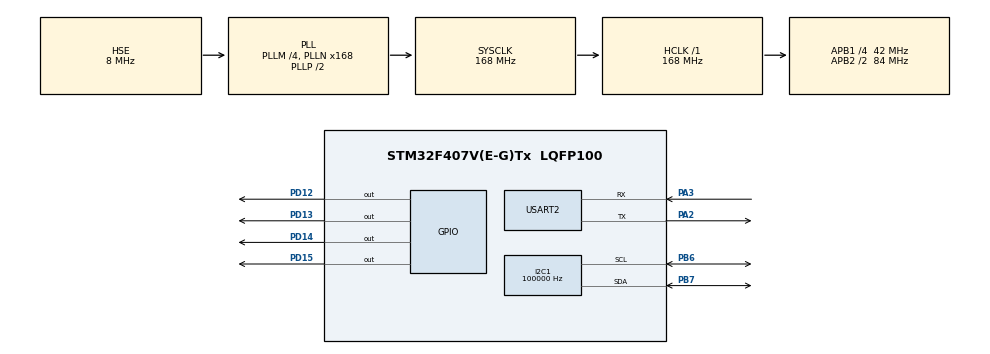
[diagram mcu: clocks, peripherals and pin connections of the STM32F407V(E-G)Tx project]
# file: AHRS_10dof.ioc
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I2C1.ClockSpeed=100000
I2C1.I2C_Mode=I2C_Standard
Mcu.Family=STM32F4
Mcu.Name=STM32F407V(E-G)Tx
Mcu.Package=LQFP100
NVIC.PriorityGroup=NVIC_PRIORITYGROUP_4
NVIC.USART2_IRQn=true\:0\:0\:false\:false\:true\:true\:true\:true
PA2.Mode=Asynchronous
PA2.Signal=USART2_TX
PA3.Mode=Asynchronous
PA3.Signal=USART2_RX
PB6.Mode=I2C
PB6.Signal=I2C1_SCL
PB7.Mode=I2C
PB7.Signal=I2C1_SDA
PD12.Signal=GPIO_Output
PD13.Signal=GPIO_Output
PD14.Signal=GPIO_Output
PD15.Signal=GPIO_Output
PH0-OSC_IN.Mode=HSE-External-Oscillator
PH0-OSC_IN.Signal=RCC_OSC_IN
PH1-OSC_OUT.Mode=HSE-External-Oscillator
PH1-OSC_OUT.Signal=RCC_OSC_OUT
ProjectManager.HeapSize=0x200
ProjectManager.StackSize=0x400
ProjectManager.TargetToolchain=STM32CubeIDE
RCC.48MHZClocksFreq_Value=84000000
RCC.AHBFreq_Value=168000000
RCC.APB1CLKDivider=RCC_HCLK_DIV4
RCC.APB1Freq_Value=42000000
RCC.APB1TimFreq_Value=84000000
RCC.APB2CLKDivider=RCC_HCLK_DIV2
RCC.APB2Freq_Value=84000000
RCC.APB2TimFreq_Value=168000000
RCC.CortexFreq_Value=168000000
RCC.HCLKFreq_Value=168000000
RCC.HSE_VALUE=8000000
RCC.HSI_VALUE=16000000
RCC.LSE_VALUE=32768
RCC.PLLM=4
RCC.PLLN=168
RCC.PLLSourceVirtual=RCC_PLLSOURCE_HSE
RCC.SYSCLKFreq_VALUE=168000000
RCC.SYSCLKSource=RCC_SYSCLKSOURCE_PLLCLK
RCC.VCOOutputFreq_Value=336000000
TIM2.AutoReloadPreload=TIM_AUTORELOAD_PRELOAD_ENABLE
TIM2.Prescaler=83
USART2.VirtualMode=VM_ASYNC
VP_TIM2_VS_ClockSourceINT.Mode=Internal
board=custom

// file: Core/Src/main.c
/* USER CODE BEGIN Header */
/**
 ******************************************************************************
 * @file           : main.c
 * @brief          : Main program body
 ******************************************************************************
 * @attention
 *
 * Copyright (c) 2026 STMicroelectronics.
 * All rights reserved.
 *
 * This software is licensed under terms that can be found in the LICENSE file
 * in the root directory of this software component.
 * If no LICENSE file comes with this software, it is provided AS-IS.
 *
 ******************************************************************************
 */
/* USER CODE END Header */
#include "main.h"

/* USER CODE BEGIN Includes */

#include <math.h>

#include "bmp180.h"
#include "bmp180_port_stm32f4.h"
#include "qmc5883p.h"
#include "qmc5883p_port_stm32f4.h"
#include "mpu6050.h"
#include "mpu6050_port_stm32f4.h"
#include "madgwick_ahrs.h"
#include "mahony_ahrs.h"
#include "mag_calibration.h"
#include "telemetry.h"

/* USER CODE END Includes */

I2C_HandleTypeDef hi2c1;

TIM_HandleTypeDef htim2;

UART_HandleTypeDef huart2;

/* USER CODE BEGIN PV */

MPU6050_Handle_t mpu6050_handle;
MPU6050_Inertial_t inertial_data;

QMC5883P_Handle_t qmc5883p_handle;
QMC5883P_MAGNETOMETER_t magnetic_data;

BMP180_Handle_t bmp180_handle;
BMP180_Data_t barometer_data;

Madgwick_t madgwick_data;
EulerAngles_t madgwick_euler;

float ax, ay, az;
float gx, gy, gz;
float mx, my, mz;

float heading;

/* USER CODE END PV */

void SystemClock_Config(void);
static void MX_GPIO_Init(void);
static void MX_I2C1_Init(void);
static void MX_TIM2_Init(void);
static void MX_USART2_UART_Init(void);

int main(void) {

	/* MCU Configuration--------------------------------------------------------*/

	/* Reset of all peripherals, Initializes the Flash interface and the Systick. */
	HAL_Init();

	/* Configure the system clock */
	SystemClock_Config();

	/* Initialize all configured peripherals */
	MX_GPIO_Init();
	MX_I2C1_Init();
	MX_TIM2_Init();
	MX_USART2_UART_Init();

	/* USER CODE BEGIN 2 */

	///INIT SENSORS
	while (1) {
		int8_t err1 = MPU6050_Port_STM32_Init(&mpu6050_handle, &hi2c1);
		int8_t err2 = QMC5883P_Port_STM32_Init(&qmc5883p_handle, &hi2c1);
		int8_t err3 = BMP180_Port_STM32_Init(&bmp180_handle, &hi2c1);

		if (err1 == 0 && err2 == 0 && err3 == 0)
			break;
		HAL_Delay(100);
	}

	// Debugger'in bu degiskeni silmesini engellemek icin 'volatile' yapiyoruz
	volatile MagCal_t mag_cal;

	/* =======================================================================
	 ADIM 1: KALİBRASYON (DEBUGGER VE LED MODU)
	 =======================================================================
	 MagCal_Start((MagCal_t*) &mag_cal);

	 // Baslangicta tum LED'leri sondur
	 HAL_GPIO_WritePin(GPIOD,
	 GPIO_PIN_12 | GPIO_PIN_13 | GPIO_PIN_14 | GPIO_PIN_15, GPIO_PIN_RESET);

	 uint32_t start_time = HAL_GetTick();

	 // 40 saniye (40000 ms) boyunca döner
	 while ((HAL_GetTick() - start_time) < 40000) {
	 QMC5883P_Get_Magnetic_Data(&qmc5883p_handle, &magnetic_data);
	 MagCal_Update((MagCal_t*) &mag_cal, magnetic_data.x_mag,
	 magnetic_data.y_mag, magnetic_data.z_mag);

	 // Yesil LED'i (PD12) yanip sondur (Islemin devam ettigini gosterir)
	 HAL_GPIO_TogglePin(GPIOD, GPIO_PIN_12);

	 HAL_Delay(133);
	 }

	 // Islem bitti, once butun LED'leri tekrar kapatalim
	 HAL_GPIO_WritePin(GPIOD,
	 GPIO_PIN_12 | GPIO_PIN_13 | GPIO_PIN_14 | GPIO_PIN_15, GPIO_PIN_RESET);

	 if (MagCal_Finish((MagCal_t*) &mag_cal) == 0) {
	 // KALİBRASYON BAŞARILI! Yesil LED sabit yansin.
	 HAL_GPIO_WritePin(GPIOD, GPIO_PIN_12, GPIO_PIN_SET);

	 // LÜTFEN AŞAĞIDAKİ SATIRA BREAKPOINT (KIRMIZI NOKTA) KOY:
	 __NOP();
	 } else {
	 // KALİBRASYON BAŞARISIZ (Yeterince çevirmedin) Kirmizi LED (PD14) yansin.
	 HAL_GPIO_WritePin(GPIOD, GPIO_PIN_14, GPIO_PIN_SET);
	 __NOP();
	 }

	 // Değerleri okuyabilmen için sistemi kilitliyoruz.
	 while (1) {
	 HAL_Delay(1000);
	 }

	 */

	/* =======================================================================
	 ADIM 2: NORMAL KULLANIM MODU (Fabrika Kalibrasyonu Yüklendi)
	 ======================================================================= */
	MagCal_Set_Manual(&mag_cal, 3909.7019f, 743.865479f, 2871.96362f, // Hard-Iron Offset (X, Y, Z)
			2.19261146f, 0.13430129f, 0.28153193f, // Soft-Iron Row 1 (X düzeltmesi)
			0.13430129f, 2.20970869f, -0.0106879082f, // Soft-Iron Row 2 (Y düzeltmesi)
			0.281532019f, -0.0106879156f, 1.32414579f // Soft-Iron Row 3 (Z düzeltmesi)
			);

	// ... (Kodun geri kalanı aynı)
	///INIT MADGWICK
	Madgwick_Init(&madgwick_data, 0.1f);

	///INIT TELEMETRY
	Telemetry_Init(&huart2, 100);

	///START TIMER

	HAL_TIM_Base_Start(&htim2);
	uint32_t last_micros = __HAL_TIM_GET_COUNTER(&htim2);

	/////////////////

	/* USER CODE END 2 */

	/* Infinite loop */
	while (1) {

		/* USER CODE BEGIN 3 */

		//POLL
		BMP180_Poll(&bmp180_handle);

		///UPDATE CENSOR DATA
		MPU6050_Get_Inertial_Data(&mpu6050_handle, &inertial_data);
		QMC5883P_Get_Magnetic_Data(&qmc5883p_handle, &magnetic_data);
		BMP180_Get_Data(&bmp180_handle, &barometer_data);

		///UPDATE DELTATIME
		uint32_t current_micros = __HAL_TIM_GET_COUNTER(&htim2);
		uint32_t delta_micros = current_micros - last_micros;
		last_micros = current_micros;
		float dt = (float) delta_micros / 1000000.0f;

		//ALLIGN ORIANTIONS FOR THIS BOARD
		ax = (float) inertial_data.accel.accel_y;
		ay = -(float) inertial_data.accel.accel_x;
		az = (float) inertial_data.accel.accel_z;

		gx = (float) inertial_data.gyro.gyro_y;
		gy = -(float) inertial_data.gyro.gyro_x;
		gz = (float) inertial_data.gyro.gyro_z;

		///MAGNETOMETER UYGULAMASI (3x3 Matrisli kalibrasyon)
		float cal_mx, cal_my, cal_mz;
		MagCal_Apply(&mag_cal, magnetic_data.x_mag, magnetic_data.y_mag,
				magnetic_data.z_mag, &cal_mx, &cal_my, &cal_mz);

		/* Align calibrated mag data to Body Frame (Forward-Left-Up) */
		mx = cal_mx;
		my = cal_my;
		mz = cal_mz;

		/// LIVE EXPRESSIONS TESTİ İÇİN BASİT 2D HESAP
		heading = atan2f(my, mx) * (180.0f / M_PI);
		if (heading < 0.0f) {
			heading += 360.0f;
		}

		///UPDATE QUATERNION & EULER
		if (dt > 0.0f && dt < 0.5f) {

			Madgwick_Process_Raw_Data(&madgwick_data, gx, gy, gz, ax, ay, az,
					mx, my, mz, dt);

			madgwick_euler = QuaternionToEulerAngle(madgwick_data.q);
		}

		///UPDATE TELEMETRY
		Telemetry_Update(madgwick_euler.roll, madgwick_euler.pitch,
				madgwick_euler.yaw, 1000.0f);

		///DELAY
		HAL_Delay(10); // Okumayı rahat görebilmek için delay
	}
	/* USER CODE END 3 */
}

void SystemClock_Config(void) {
	RCC_OscInitTypeDef RCC_OscInitStruct = { 0 };
	RCC_ClkInitTypeDef RCC_ClkInitStruct = { 0 };

	/** Configure the main internal regulator output voltage
	 */
	__HAL_RCC_PWR_CLK_ENABLE();
	__HAL_PWR_VOLTAGESCALING_CONFIG(PWR_REGULATOR_VOLTAGE_SCALE1);

	/** Initializes the RCC Oscillators according to the specified parameters
	 * in the RCC_OscInitTypeDef structure.
	 */
	RCC_OscInitStruct.OscillatorType = RCC_OSCILLATORTYPE_HSE;
	RCC_OscInitStruct.HSEState = RCC_HSE_ON;
	RCC_OscInitStruct.PLL.PLLState = RCC_PLL_ON;
	RCC_OscInitStruct.PLL.PLLSource = RCC_PLLSOURCE_HSE;
	RCC_OscInitStruct.PLL.PLLM = 4;
	RCC_OscInitStruct.PLL.PLLN = 168;
	RCC_OscInitStruct.PLL.PLLP = RCC_PLLP_DIV2;
	RCC_OscInitStruct.PLL.PLLQ = 4;
	if (HAL_RCC_OscConfig(&RCC_OscInitStruct) != HAL_OK) {
		Error_Handler();
	}

	/** Initializes the CPU, AHB and APB buses clocks
	 */
	RCC_ClkInitStruct.ClockType = RCC_CLOCKTYPE_HCLK | RCC_CLOCKTYPE_SYSCLK
			| RCC_CLOCKTYPE_PCLK1 | RCC_CLOCKTYPE_PCLK2;
	RCC_ClkInitStruct.SYSCLKSource = RCC_SYSCLKSOURCE_PLLCLK;
	RCC_ClkInitStruct.AHBCLKDivider = RCC_SYSCLK_DIV1;
	RCC_ClkInitStruct.APB1CLKDivider = RCC_HCLK_DIV4;
	RCC_ClkInitStruct.APB2CLKDivider = RCC_HCLK_DIV2;

	if (HAL_RCC_ClockConfig(&RCC_ClkInitStruct, FLASH_LATENCY_5) != HAL_OK) {
		Error_Handler();
	}
}

static void MX_I2C1_Init(void) {

	hi2c1.Instance = I2C1;
	hi2c1.Init.ClockSpeed = 100000;
	hi2c1.Init.DutyCycle = I2C_DUTYCYCLE_2;
	hi2c1.Init.OwnAddress1 = 0;
	hi2c1.Init.AddressingMode = I2C_ADDRESSINGMODE_7BIT;
	hi2c1.Init.DualAddressMode = I2C_DUALADDRESS_DISABLE;
	hi2c1.Init.OwnAddress2 = 0;
	hi2c1.Init.GeneralCallMode = I2C_GENERALCALL_DISABLE;
	hi2c1.Init.NoStretchMode = I2C_NOSTRETCH_DISABLE;
	if (HAL_I2C_Init(&hi2c1) != HAL_OK) {
		Error_Handler();
	}

}

static void MX_TIM2_Init(void) {

	TIM_ClockConfigTypeDef sClockSourceConfig = { 0 };
	TIM_MasterConfigTypeDef sMasterConfig = { 0 };

	htim2.Instance = TIM2;
	htim2.Init.Prescaler = 83;
	htim2.Init.CounterMode = TIM_COUNTERMODE_UP;
	htim2.Init.Period = 4294967295;
	htim2.Init.ClockDivision = TIM_CLOCKDIVISION_DIV1;
	htim2.Init.AutoReloadPreload = TIM_AUTORELOAD_PRELOAD_ENABLE;
	if (HAL_TIM_Base_Init(&htim2) != HAL_OK) {
		Error_Handler();
	}
	sClockSourceConfig.ClockSource = TIM_CLOCKSOURCE_INTERNAL;
	if (HAL_TIM_ConfigClockSource(&htim2, &sClockSourceConfig) != HAL_OK) {
		Error_Handler();
	}
	sMasterConfig.MasterOutputTrigger = TIM_TRGO_RESET;
	sMasterConfig.MasterSlaveMode = TIM_MASTERSLAVEMODE_DISABLE;
	if (HAL_TIMEx_MasterConfigSynchronization(&htim2, &sMasterConfig)
			!= HAL_OK) {
		Error_Handler();
	}

}

static void MX_USART2_UART_Init(void) {

	huart2.Instance = USART2;
	huart2.Init.BaudRate = 115200;
	huart2.Init.WordLength = UART_WORDLENGTH_8B;
	huart2.Init.StopBits = UART_STOPBITS_1;
	huart2.Init.Parity = UART_PARITY_NONE;
	huart2.Init.Mode = UART_MODE_TX_RX;
	huart2.Init.HwFlowCtl = UART_HWCONTROL_NONE;
	huart2.Init.OverSampling = UART_OVERSAMPLING_16;
	if (HAL_UART_Init(&huart2) != HAL_OK) {
		Error_Handler();
	}

}

static void MX_GPIO_Init(void) {
	GPIO_InitTypeDef GPIO_InitStruct = { 0 };

	/* GPIO Ports Clock Enable */
	__HAL_RCC_GPIOH_CLK_ENABLE();
	__HAL_RCC_GPIOA_CLK_ENABLE();
	__HAL_RCC_GPIOD_CLK_ENABLE();
	__HAL_RCC_GPIOB_CLK_ENABLE();

	/*Configure GPIO pin Output Level */
	HAL_GPIO_WritePin(GPIOD,
	GPIO_PIN_12 | GPIO_PIN_13 | GPIO_PIN_14 | GPIO_PIN_15, GPIO_PIN_RESET);

	/*Configure GPIO pins : PD12 PD13 PD14 PD15 */
	GPIO_InitStruct.Pin = GPIO_PIN_12 | GPIO_PIN_13 | GPIO_PIN_14 | GPIO_PIN_15;
	GPIO_InitStruct.Mode = GPIO_MODE_OUTPUT_PP;
	GPIO_InitStruct.Pull = GPIO_NOPULL;
	GPIO_InitStruct.Speed = GPIO_SPEED_FREQ_LOW;
	HAL_GPIO_Init(GPIOD, &GPIO_InitStruct);

}

void Error_Handler(void) {
	__disable_irq();
	while (1) {
	}
}
